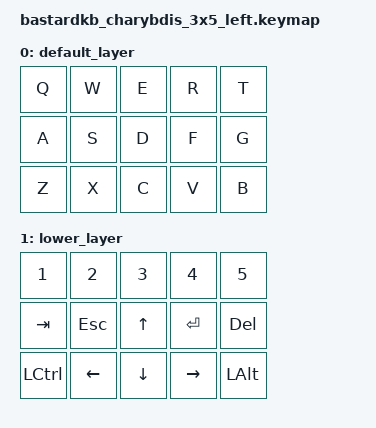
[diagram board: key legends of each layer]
/ {
  keymap {
    compatible = "zmk,keymap";

    default_layer {
      bindings = <
        &kp Q  &kp W  &kp E  &kp R  &kp T
        &kp A  &kp S  &kp D  &kp F  &kp G
        &kp Z  &kp X  &kp C  &kp V  &kp B
      >;
    };

    lower_layer {
      bindings = <
        &kp 1  &kp 2  &kp 3  &kp 4  &kp 5
        &kp TAB  &kp ESC  &kp UP  &kp ENTER  &kp DEL
        &kp LCTRL  &kp LEFT  &kp DOWN  &kp RIGHT  &kp LALT
      >;
    };
  };
};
